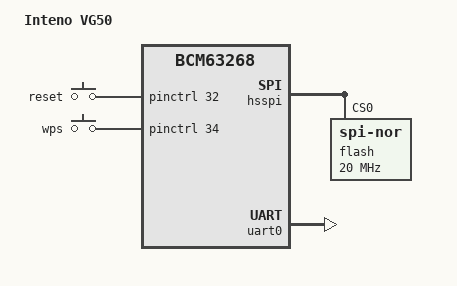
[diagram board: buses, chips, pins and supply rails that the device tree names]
/dts-v1/;

#include "bcm63268.dtsi"

#include <dt-bindings/input/input.h>

/ {
	model = "Inteno VG50";
	compatible = "inteno,vg50", "brcm,bcm63268";

	chosen {
		bootargs = "root=/dev/mtdblock2 rootfstype=squashfs,jffs2 noinitrd console=ttyS0,115200";
		stdout-path = "serial0:115200n8";
	};

	gpio-keys-polled {
		compatible = "gpio-keys-polled";
		#address-cells = <1>;
		#size-cells = <0>;
		poll-interval = <20>;
		debounce-interval = <60>;

		reset {
			label = "reset";
			gpios = <&pinctrl 32 0>;
			linux,code = <KEY_RESTART>;
		};

		wps {
			label = "wps";
			gpios = <&pinctrl 34 0>;
			linux,code = <KEY_WPS_BUTTON>;
		};
        };
};

&hsspi {
	status = "ok";

	flash@0 {
		compatible = "jedec,spi-nor";
		spi-max-frequency = <20000000>;
		spi-tx-bus-width = <2>;
		spi-rx-bus-width = <2>;
		reg = <0>;

		#address-cells = <1>;
		#size-cells = <1>;

		linux,part-probe = "bcm63xxpart";
	};
};

&uart0 {
	status = "ok";
};
